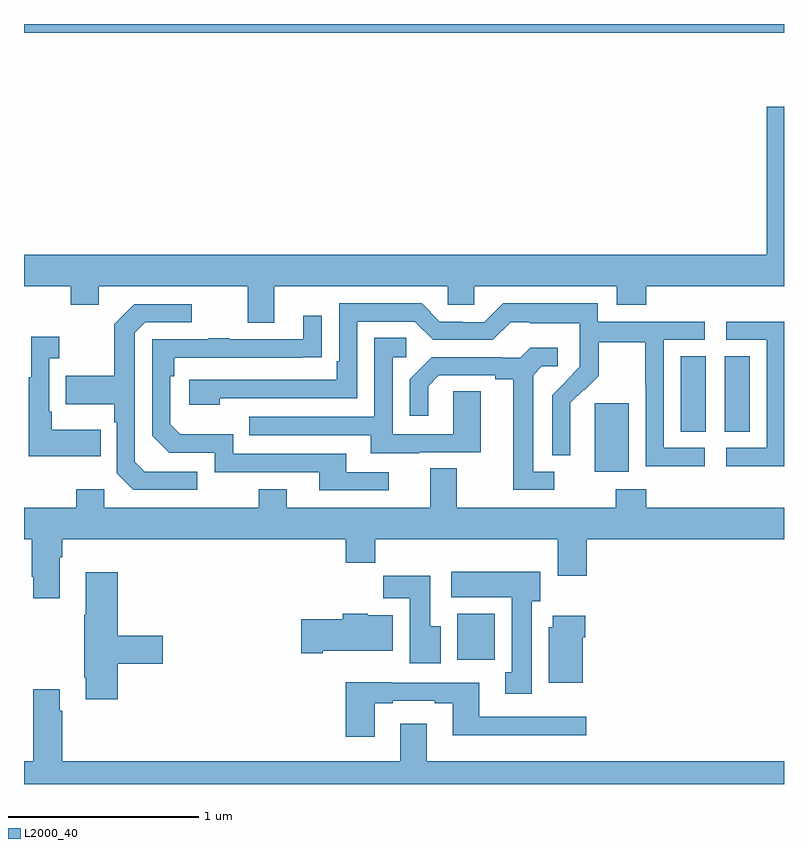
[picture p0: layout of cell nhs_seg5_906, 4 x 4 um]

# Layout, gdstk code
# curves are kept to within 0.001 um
import gdstk
lib = gdstk.Library(unit=1e-6, precision=1e-09)
def R(c, l, rs):  # rectangles x0, y0, x1, y1
    for r in rs: c.add(gdstk.rectangle(r[:2], r[2:], *l))
def P(c, l, *ps):  # polygons
    for p in ps: c.add(gdstk.Polygon(p, *l))
L2000_40 = (2000, 40)

nhs_seg5_906 = lib.new_cell('nhs_seg5_906')
R(nhs_seg5_906, L2000_40, [(171.281,861.452,171.478,861.694), (172.004,862.442,172.183,862.803), (172.457,862.654,172.588,863.051), (172.688,862.654,172.819,863.051), (169,864.752,173,864.799)])
P(nhs_seg5_906, L2000_40, [(170.317,863.42),(171.231,863.42),(171.231,863.322),(171.369,863.322),(171.369,863.42),(172.121,863.42),(172.121,863.321),(172.274,863.321),(172.274,863.42),(173,863.42),(173,864.364),(172.91,864.364),(172.91,863.584),(169,863.584),(169,863.42),(169.246,863.42),(169.246,863.321),(169.393,863.321),(169.393,863.42),(170.177,863.42),(170.177,863.226),(170.317,863.226)],
  [(172.582,862.569),(172.368,862.569),(172.368,863.136),(172.582,863.136),(172.582,863.232),(172.02,863.232),(172.02,863.329),(171.523,863.329),(171.423,863.229),(171.308,863.229),(171.308,863.232),(171.189,863.232),(171.093,863.328),(170.658,863.328),(170.658,863.023),(170.645,863.023),(170.645,862.926),(169.869,862.926),(169.869,862.796),(170.03,862.796),(170.03,862.83),(170.754,862.83),(170.754,863.232),(171.057,863.232),(171.153,863.136),(171.468,863.136),(171.561,863.229),(171.661,863.229),(171.661,863.225),(171.924,863.225),(171.924,863.091),(171.926,863.091),(171.926,862.994),(171.78,862.846),(171.78,862.528),(171.876,862.528),(171.875,862.805),(171.945,862.875),(171.948,862.872),(172.025,862.949),(172.025,863.124),(172.27,863.124),(172.27,862.9),(172.272,862.9),(172.272,862.471),(172.582,862.471)],
  [(169.912,862.443),(169.635,862.443),(169.584,862.494),(169.584,863.175),(169.638,863.229),(169.882,863.229),(169.882,863.325),(169.581,863.325),(169.476,863.219),(169.476,862.947),(169.219,862.947),(169.219,862.799),(169.476,862.799),(169.476,862.703),(169.488,862.703),(169.488,862.434),(169.575,862.347),(169.912,862.347)],
  [(170.92,862.44),(170.695,862.44),(170.695,862.536),(170.1,862.536),(170.1,862.639),(169.823,862.639),(169.77,862.692),(169.77,862.946),(169.79,862.946),(169.79,863.043),(170.567,863.044),(170.567,863.263),(170.471,863.263),(170.471,863.139),(170.081,863.139),(170.081,863.144),(169.969,863.144),(169.969,863.139),(169.674,863.139),(169.674,862.632),(169.764,862.542),(170.004,862.542),(170.004,862.44),(170.555,862.44),(170.555,862.344),(170.92,862.344)],
  [(173,863.232),(172.695,863.232),(172.695,863.136),(172.908,863.136),(172.908,862.569),(172.695,862.569),(172.695,862.471),(173,862.471)],
  [(169.403,862.663),(169.147,862.663),(169.147,862.759),(169.134,862.759),(169.134,863.039),(169.186,863.039),(169.186,863.152),(169.037,863.152),(169.037,862.939),(169.026,862.939),(169.026,862.523),(169.403,862.523)],
  [(171.079,862.545),(171.403,862.545),(171.403,862.865),(171.258,862.865),(171.258,862.641),(170.94,862.641),(170.94,863.046),(171.013,863.046),(171.013,863.147),(170.844,863.147),(170.844,862.731),(170.185,862.731),(170.185,862.635),(170.825,862.635),(170.825,862.541),(171.079,862.541)],
  [(171.79,862.443),(171.679,862.443),(171.679,862.951),(171.726,862.998),(171.808,862.998),(171.808,863.095),(171.664,863.095),(171.612,863.043),(171.518,863.043),(171.518,863.046),(171.146,863.046),(171.03,862.93),(171.03,862.737),(171.127,862.737),(171.127,862.893),(171.184,862.95),(171.479,862.95),(171.479,862.928),(171.575,862.928),(171.575,862.347),(171.79,862.347)],
  [(169.189,861.992),(169.202,861.992),(169.202,862.088),(170.693,862.088),(170.693,861.964),(170.849,861.964),(170.849,862.088),(171.809,862.088),(171.809,861.894),(171.962,861.894),(171.962,862.088),(173,862.088),(173,862.252),(172.274,862.252),(172.274,862.351),(172.114,862.351),(172.114,862.252),(171.277,862.252),(171.277,862.46),(171.137,862.46),(171.137,862.252),(170.383,862.252),(170.383,862.351),(170.236,862.351),(170.236,862.252),(169.422,862.252),(169.422,862.351),(169.276,862.351),(169.276,862.252),(169,862.252),(169,862.088),(169.042,862.088),(169.042,861.889),(169.049,861.889),(169.049,861.777),(169.189,861.777)],
  [(171.673,861.762),(171.718,861.762),(171.718,861.916),(171.249,861.916),(171.249,861.782),(171.566,861.782),(171.566,861.386),(171.533,861.386),(171.533,861.273),(171.673,861.273)],
  [(169.493,861.431),(169.729,861.431),(169.729,861.578),(169.493,861.578),(169.493,861.913),(169.325,861.913),(169.325,861.689),(169.318,861.689),(169.318,861.358),(169.325,861.358),(169.325,861.246),(169.493,861.246)],
  [(171.193,861.628),(171.139,861.628),(171.139,861.895),(170.89,861.895),(170.89,861.776),(171.029,861.776),(171.029,861.435),(171.193,861.435)],
  [(170.572,861.5),(170.941,861.5),(170.941,861.688),(170.808,861.688),(170.808,861.694),(170.678,861.694),(170.678,861.666),(170.46,861.666),(170.46,861.488),(170.572,861.488)],
  [(171.94,861.572),(171.953,861.572),(171.953,861.685),(171.782,861.685),(171.782,861.624),(171.761,861.624),(171.761,861.332),(171.94,861.332)],
  [(170.845,861.225),(170.941,861.225),(170.941,861.237),(171.161,861.237),(171.161,861.225),(171.257,861.225),(171.257,861.056),(171.958,861.056),(171.958,861.153),(171.397,861.153),(171.397,861.333),(170.933,861.333),(170.933,861.334),(170.693,861.334),(170.693,861.048),(170.845,861.048)],
  [(173,860.92),(171.121,860.92),(171.121,861.115),(170.981,861.115),(170.981,860.92),(169.202,860.92),(169.202,861.185),(169.189,861.185),(169.189,861.298),(169.049,861.298),(169.049,860.92),(169,860.92),(169,860.799),(173,860.799)])

lib.write_gds('nhs_seg5_906.gds')
